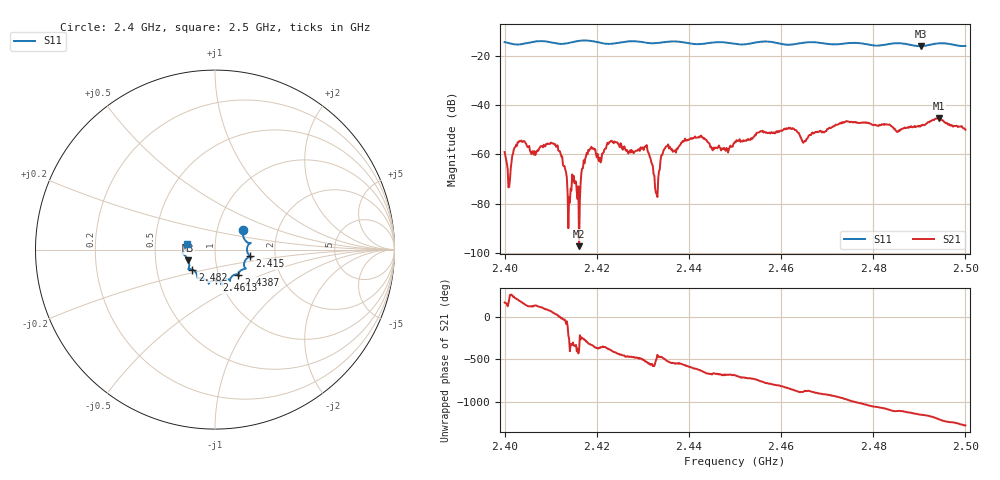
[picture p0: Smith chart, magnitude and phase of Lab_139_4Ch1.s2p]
# Hz S RI R 50
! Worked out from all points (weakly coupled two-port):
!   601 points, 2.4 GHz to 2.5 GHz, reference 50 ohm
!   highest |S21| = -45.21 dB at 2.4943 GHz (marker M1); lowest = -97.4 dB at 2.4162 GHz (marker M2)
!   lowest |S11| = -15.9 dB at 2.4903 GHz (marker M3), VSWR 1.38, Z = 36.8 - j4.45 ohm
!   |S11| at or under -10 dB: start of sweep to end of sweep
!   S12 and S22 are empty: the file has one direction only
!   S11 on the Smith chart (normalised r, x): 2.4 GHz: 1.33, +0.31; 2.415 GHz: 1.47, -0.11; 2.4387 GHz: 1.24, -0.36; 2.4613 GHz: 0.96, -0.34; 2.482 GHz: 0.76, -0.17; 2.5 GHz: 0.72, +0.05
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2.4e9  0.1578 0.1119  -0.00108 0.000301  0 0  0 0
2.401e9  0.156 0.0968  -0.000204 -8.71e-05  0 0  0 0
2.403333e9  0.1644 0.057  -0.00185 -1.35e-05  0 0  0 0
2.4105e9  0.1856 0.0264  0.00117 0.00119  0 0  0 0
2.414e9  0.185 -0.0249  -1.18e-05 0.000136  0 0  0 0
2.415e9  0.1924 -0.0362  0.000348 0.000114  0 0  0 0
2.416167e9  0.2011 -0.0429  1.12e-05 -7.67e-06  0 0  0 0
2.416667e9  0.2034 -0.0439  -0.000188 0.000387  0 0  0 0
2.418333e9  0.2026 -0.0414  0.000932 0.000727  0 0  0 0
2.423333e9  0.1623 -0.0766  0.0013 -0.00127  0 0  0 0
2.430833e9  0.1505 -0.1122  -0.00155 -8.78e-05  0 0  0 0
2.433333e9  0.1324 -0.1317  -8.98e-05 -0.0003  0 0  0 0
2.435e9  0.131 -0.1445  -0.00128 -0.000674  0 0  0 0
2.438667e9  0.1303 -0.1415  -0.00172 0.000766  0 0  0 0
2.45e9  0.069 -0.1646  0.00159 0.000865  0 0  0 0
2.461333e9  0.00785 -0.1712  -0.00166 -0.0029  0 0  0 0
2.466667e9  -0.0349 -0.1903  -0.00262 -0.000738  0 0  0 0
2.482e9  -0.1258 -0.1113  0.00405 0.000397  0 0  0 0
2.483333e9  -0.1396 -0.1084  0.00392 -0.000901  0 0  0 0
2.490333e9  -0.1491 -0.0589  0.0011 -0.00371  0 0  0 0
2.494333e9  -0.1817 -0.0212  -0.00343 -0.00429  0 0  0 0
2.5e9  -0.1585 0.0325  -0.00299 0.00108  0 0  0 0
